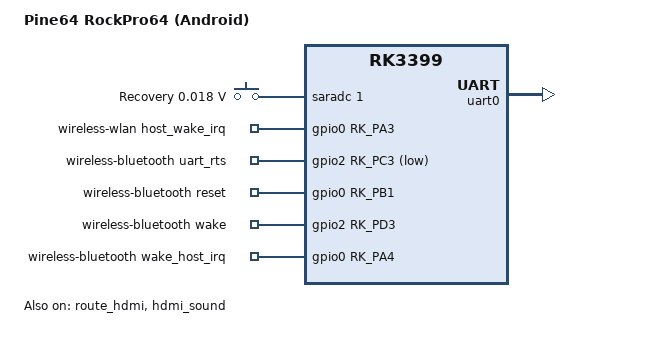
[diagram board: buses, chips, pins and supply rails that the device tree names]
// SPDX-License-Identifier: (GPL-2.0+ OR MIT)
/*
 * Pine64 RockPro64 (v2.1) for the TinkerBoard-Android Android 12 SDK
 * (kernel 4.19, tinker_board_2-android12-3.0.10).
 *
 * Board hardware comes from rk3399-rockpro64.dts; this file only adds what
 * the Rockchip Android userspace expects (rk3399-android.dtsi: fiq-debugger
 * console, drm-logo/ramoops, firmware/android, VOPL, MPP, IEP, RGA ...) and
 * the Rockchip-style (rfkill/bcmdhd) WiFi/BT description.
 *
 * Nothing here is taken from rk3399-tinker-board-2.dtsi's PMIC/OPP sections:
 * that board leaves vdd_cpu_b/vdd_gpu unmanaged and adds 1.512/2.016 GHz OPPs.
 */

#include "rk3399-rockpro64.dts"
#include "rk3399-android.dtsi"

/ {
	model = "Pine64 RockPro64 (Android)";
	compatible = "pine64,rockpro64-v2.1", "pine64,rockpro64",
		     "rockchip,android", "rockchip,rk3399";

	chosen: chosen {
		/* same command line as rk3399-tinker-board-2.dts */
		bootargs = "earlycon=uart8250,mmio32,0xff1a0000 console=ttyFIQ0 androidboot.baseband=N/A androidboot.veritymode=enforcing androidboot.hardware=rk30board androidboot.console=ttyFIQ0 init=/init initrd=0x62000001,0x00800000 coherent_pool=1m";
		/delete-property/ stdout-path;
	};

	/*
	 * ASUS drivers/boardinfo: stmmac/dwmac-rk call get_board_model(), which
	 * strcmp()s the "model" string read from this node (NULL without it ->
	 * Oops in stmmac_probe_config_dt). A model other than rk3288/rk3399/
	 * rk3568/rk3566 makes get_board_model() return -1: no Tinker hw-id GPIO
	 * probing and no Tinker-specific RGMII delay/WOL overrides (the DTS
	 * tx_delay/rx_delay are used).
	 */
	board-info {
		compatible = "board-info";
		model = "rockpro64";
		board = "rockpro64";
	};

	/*
	 * RockPro64 "Recover" button on SARADC_IN1 (pulled up to 1.8 V, pressed =
	 * 0 V), as in mainline rk3399-rockpro64.dtsi.
	 *
	 * Rockchip U-Boot uses KEY_VOLUMEUP as its recovery/download key and looks
	 * for it in the kernel DTB first. When the kernel DTB has none, it falls
	 * back to its own rk3399-evb DT keys (rk_key0: SARADC ch1, rk_key1: SARADC
	 * ch2 for RK3399PRO EVB), whose ADC level reads as "pressed" on RockPro64:
	 * "download key pressed... entering recovery mode!" on every boot.
	 * Mapping the Recover button to KEY_VOLUMEUP gives U-Boot a real key.
	 * (The kernel does not use this node: CONFIG_KEYBOARD_ADC is off.)
	 */
	adc-keys {
		compatible = "adc-keys";
		io-channels = <&saradc 1>;
		io-channel-names = "buttons";
		keyup-threshold-microvolt = <1800000>;
		poll-interval = <100>;

		recovery-key {
			label = "Recovery";
			linux,code = <KEY_VOLUMEUP>;
			press-threshold-microvolt = <18000>;
		};
	};

	/*
	 * Optional PINE64 WiFi/BT module (AzureWave AW-CM256SM, BCM4345 rev 6).
	 * bcmdhd recognised it with the AP6255 firmware in the Yocto bring-up.
	 * Pin assignment as in mainline rk3399-rockpro64.dtsi:
	 *   WL_REG_ON  GPIO0_B2 (sdio_pwrseq reset-gpios)
	 *   WL_HOST_WAKE GPIO0_A3 (not described in mainline - verify)
	 *   BT_REG_ON  GPIO0_B1, BT_HOST_WAKE GPIO0_A4, BT_WAKE GPIO2_D3
	 *   UART0 RTS  GPIO2_C3 (uart0_gpios, already in rk3399-rockpro64.dts)
	 */
	wireless-wlan {
		compatible = "wlan-platdata";
		rockchip,grf = <&grf>;
		wifi_chip_type = "ap6255";
		sdio_vref = <1800>;
		WIFI,host_wake_irq = <&gpio0 RK_PA3 GPIO_ACTIVE_HIGH>;
		status = "okay";
	};

	wireless-bluetooth {
		compatible = "bluetooth-platdata";
		clocks = <&rk808 1>;
		clock-names = "ext_clock";
		uart_rts_gpios = <&gpio2 RK_PC3 GPIO_ACTIVE_LOW>;
		pinctrl-names = "default", "rts_gpio";
		pinctrl-0 = <&uart0_rts>;
		pinctrl-1 = <&uart0_gpios>;
		BT,reset_gpio    = <&gpio0 RK_PB1 GPIO_ACTIVE_HIGH>;
		BT,wake_gpio     = <&gpio2 RK_PD3 GPIO_ACTIVE_HIGH>;
		BT,wake_host_irq = <&gpio0 RK_PA4 GPIO_ACTIVE_HIGH>;
		status = "okay";
	};
};

/*
 * UART2 belongs to the fiq-debugger (ttyFIQ0). 115200 to match the U-Boot
 * built from tinker_board_2_defconfig (CONFIG_BAUDRATE=115200).
 * The baud clock is parented to xin24m: the reset default
 * (clk_uart2_div <- clk_uart_src <- CPLL) garbled the console early in boot
 * on the FriendlyELEC 4.19 bring-up.
 */
&fiq_debugger {
	rockchip,baudrate = <115200>;
	assigned-clocks = <&cru SCLK_UART2>;
	assigned-clock-parents = <&xin24m>;
};

/* gpio-keys from rk3399-android.dtsi owns the power key (GPIO0_A5) */
&rk_key {
	status = "disabled";
};

/* rk3399-android.dtsi disables these; RockPro64 has HDMI on VOPB */
&route_hdmi {
	status = "okay";
};

/*
 * "rockchip,rk3399-hdmi-dp" (4.4 machine driver) is not built in this
 * 4.19 kernel, so this card never registers (only the ES8316 card shows in
 * the ALSA list). Use the simple-audio-card HDMI card from rk3399.dtsi
 * (i2s2 <-> dw-hdmi), as the Tinker Board 2 does.
 */
&hdmi_dp_sound {
	status = "disabled";
};

&hdmi_sound {
	status = "okay";
};

/* Bluetooth UART (RTS is handled by wireless-bluetooth) */
&uart0 {
	pinctrl-names = "default";
	pinctrl-0 = <&uart0_xfer &uart0_cts>;
	status = "okay";
};
